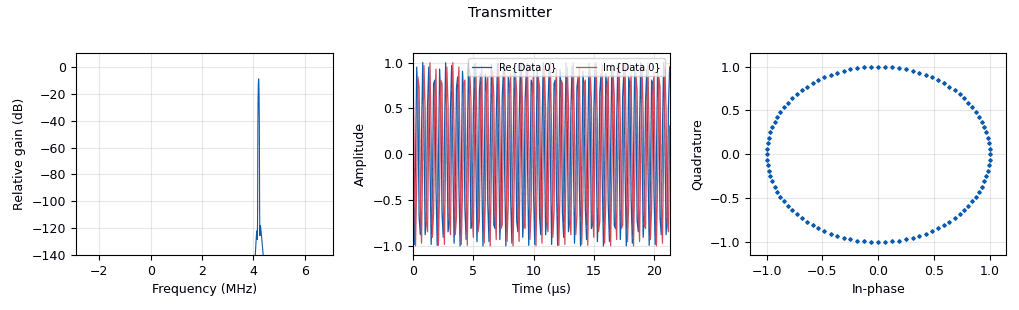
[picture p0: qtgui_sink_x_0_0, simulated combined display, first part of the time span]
options:
  parameters:
    author: User
    generate_options: qt_gui
    id: tx
    output_language: python
    title: Not titled yet
  states: {}

blocks:
- name: freq
  id: variable
  parameters:
    value: 2100e3
  states: {}
- name: samp_rate
  id: variable
  parameters:
    value: 10e6
  states: {}
- name: epy_block_0
  id: epy_block
  parameters:
    _source_code: |
      import numpy as np
      from gnuradio import gr

      class blk(gr.sync_block):  
          def __init__(self, samp_rate=1e6, freq=100e3):  
              gr.sync_block.__init__(self,
                  name="Custom TX Block",
                  in_sig=[],  
                  out_sig=[np.complex64])  

              self.samp_rate = samp_rate  
              self.freq = freq  

          def work(self, input_items, output_items):
              num_samples = len(output_items[0])
              t = np.arange(num_samples) / self.samp_rate  
              output_items[0][:] = np.exp(2j * np.pi * self.freq * t)  
              return len(output_items[0])
    freq: freq
    samp_rate: samp_rate
  states: {}
- name: osmosdr_sink_0
  id: osmosdr_sink
  parameters:
    ant0: TX
    args: hackrf=0
    bb_gain0: '20'
    freq0: freq
    gain0: '30'
    if_gain0: '20'
    sample_rate: 10e6
    sync: sync
    type: fc32
  states: {}
- name: qtgui_sink_x_0_0
  id: qtgui_sink_x
  parameters:
    bw: 10e6
    fc: 2100e3
    fftsize: '1024'
    name: Transmitter
    type: complex
  states: {}

connections:
- [epy_block_0, '0', osmosdr_sink_0, '0']
- [epy_block_0, '0', qtgui_sink_x_0_0, '0']

metadata:
  file_format: 1
  grc_version: 3.10.10.0
